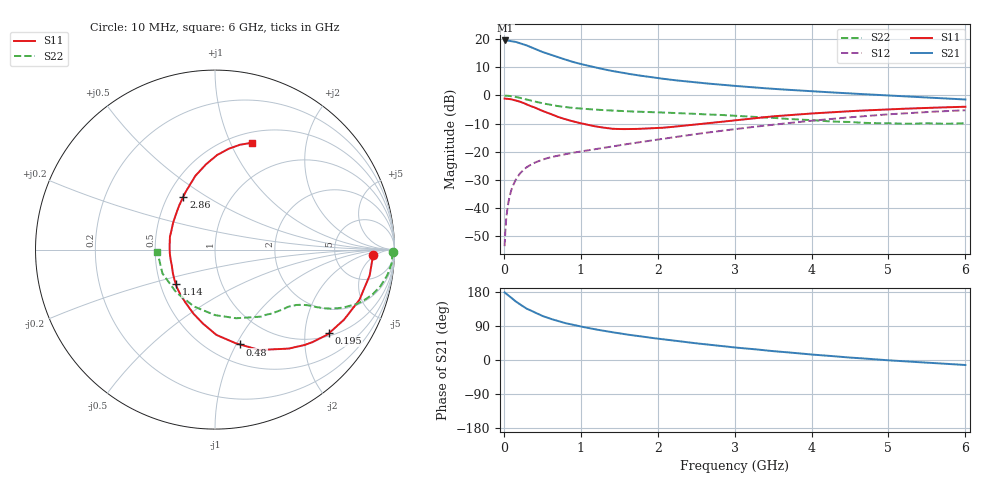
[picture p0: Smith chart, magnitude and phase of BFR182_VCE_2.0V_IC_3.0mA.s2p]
! Infineon Technologies  Discrete & RF Semiconductors
! BFR182
! VCE =  2.0 V,  IC =  3.0 mA
! Common Emitter S-Parameters:  Nov 2015
# GHz  S  MA  R  50
!  f  S11  S21  S12  S22
! GHz  MAG  ANG  MAG  ANG  MAG  ANG  MAG  ANG
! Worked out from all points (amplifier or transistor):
!   210 points, 10 MHz to 6 GHz, reference 50 ohm
!   highest |S21| = 19.5 dB at 20 MHz (marker M1)
!   |S21| within 3 dB of that: start of sweep to 408.2 MHz
!   unconditionally stable (mu >= 1): 1.271 GHz to 2.977 GHz
!   at 185 MHz: K = 0.23, MSG = 23.7 dB, |S12| = -28.7 dB
!   at 1.52 GHz: K = 1.05, MAG = 11.5 dB, |S12| = -17.6 dB
!   at 6 GHz: K = 0.90, MSG = 1.9 dB, |S12| = -5.3 dB
!   S11 on the Smith chart (normalised r, x): 10 MHz: 15, -4; 195 MHz: 1.09, -2.67; 480 MHz: 0.69, -1.04; 1.14 GHz: 0.60, -0.25; 2.86 GHz: 0.60, +0.40; 6 GHz: 0.61, +1.21
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0.01  0.8801 -2.0  9.398 178.5  0.0021 90.8  0.9946 -0.9
0.02  0.8782 -3.8  9.479 176.5  0.004 87.5  0.9883 -1.7
0.04  0.8742 -7.6  9.446 173.4  0.0083 85.2  0.9875 -3.5
0.065  0.8645 -12.4  9.348 169.5  0.0138 82.2  0.9818 -5.6
0.15  0.8181 -28.5  8.997 155.1  0.0308 74.0  0.9436 -12.5
0.195  0.7882 -36.1  8.582 149.1  0.0387 70.9  0.9161 -15.5
0.24  0.7483 -43.6  8.203 142.9  0.0453 67.1  0.8865 -18.0
0.3  0.6891 -53.1  7.708 135.1  0.0534 64.0  0.8446 -21.1
0.4  0.612 -66.1  6.786 125.5  0.0639 59.1  0.7788 -24.6
0.48  0.5471 -75.1  6.093 118.4  0.0704 56.8  0.7377 -26.4
0.6  0.4751 -89.1  5.348 109.1  0.0794 54.4  0.6845 -28.5
0.7  0.4178 -99.2  4.814 102.8  0.0848 53.6  0.6477 -29.6
0.86  0.3581 -113.0  4.086 94.5  0.0937 53.2  0.6079 -30.8
1.02  0.3157 -127.5  3.564 87.5  0.1022 53.2  0.5815 -32.0
1.14  0.2912 -138.5  3.263 82.8  0.1088 53.9  0.5656 -33.0
1.6  0.2528 -176.4  2.447 67.2  0.1364 56.3  0.5236 -37.1
2.02  0.2645 156.8  2.018 55.8  0.166 57.2  0.5001 -42.3
2.86  0.3437 120.9  1.535 36.2  0.2379 55.6  0.4473 -56.8
3.1  0.3724 114.2  1.443 31.3  0.2615 54.1  0.4268 -62.2
4.1  0.487 94.4  1.166 13.0  0.3654 45.3  0.3562 -93.8
5.1  0.5737 81.0  0.982 -2.0  0.471 32.8  0.3174 -137.0
6  0.6302 70.8  0.847 -13.2  0.5455 19.3  0.3215 -177.9
